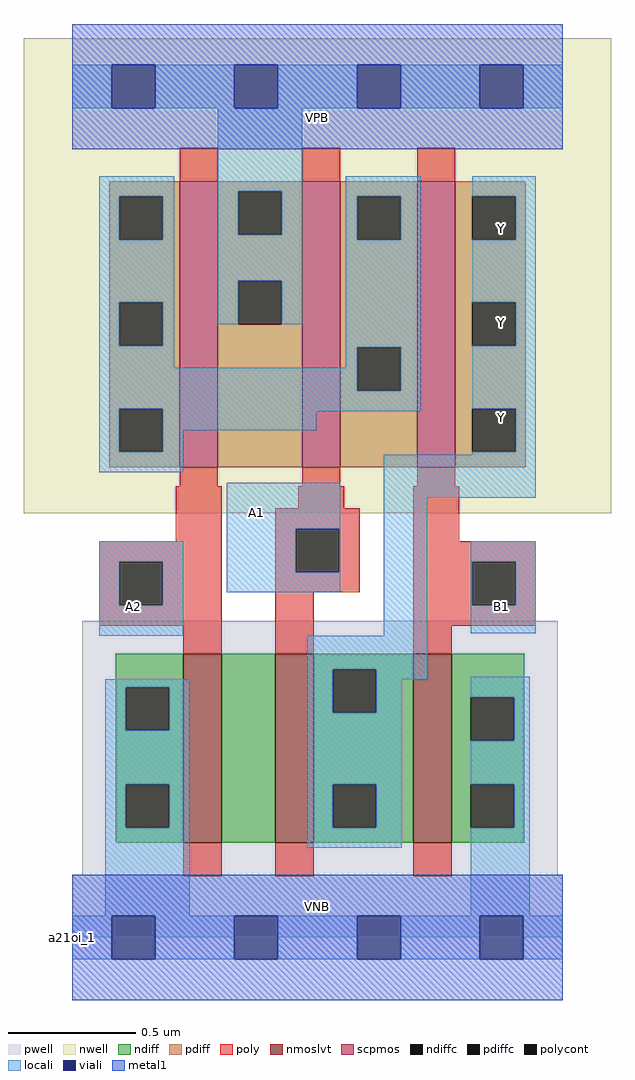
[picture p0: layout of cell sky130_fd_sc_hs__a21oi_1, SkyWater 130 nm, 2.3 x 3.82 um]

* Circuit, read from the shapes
.subckt sky130_fd_sc_hs__a21oi_1 A1 A2 B1 VGND VNB VPB VPWR Y
XM1 n1 A2 VGND VNB sky130_fd_pr__nfet_01v8_lvt w=0.74 l=0.15
XM2 Y A1 n1 VNB sky130_fd_pr__nfet_01v8_lvt w=0.74 l=0.15
XM3 VGND B1 Y VNB sky130_fd_pr__nfet_01v8_lvt w=0.74 l=0.15
XM4 VPWR A2 n2 VPB sky130_fd_pr__pfet_01v8 w=1.12 l=0.15
XM5 n2 A1 VPWR VPB sky130_fd_pr__pfet_01v8 w=1.12 l=0.15
XM6 Y B1 n2 VPB sky130_fd_pr__pfet_01v8 w=1.12 l=0.15
.ends

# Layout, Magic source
magic
tech sky130A
magscale 1 2
<< nwell >>
rect -38 332 422 704
<< pwell >>
rect 8 49 380 248
rect 0 0 384 49
<< scpmos >>
rect 84 368 114 592
rect 180 368 210 592
rect 270 368 300 592
<< nmoslvt >>
rect 87 74 117 222
rect 159 74 189 222
rect 267 74 297 222
<< ndiff >>
rect 34 196 87 222
rect 34 162 42 196
rect 76 162 87 196
rect 34 120 87 162
rect 34 86 42 120
rect 76 86 87 120
rect 34 74 87 86
rect 117 74 159 222
rect 189 210 267 222
rect 189 176 204 210
rect 238 176 267 210
rect 189 120 267 176
rect 189 86 204 120
rect 238 86 267 120
rect 189 74 267 86
rect 297 188 354 222
rect 297 154 312 188
rect 346 154 354 188
rect 297 120 354 154
rect 297 86 312 120
rect 346 86 354 120
rect 297 74 354 86
<< pdiff >>
rect 29 580 84 592
rect 29 546 37 580
rect 71 546 84 580
rect 29 497 84 546
rect 29 463 37 497
rect 71 463 84 497
rect 29 414 84 463
rect 29 380 37 414
rect 71 380 84 414
rect 29 368 84 380
rect 114 584 180 592
rect 114 550 130 584
rect 164 550 180 584
rect 114 514 180 550
rect 114 480 130 514
rect 164 480 180 514
rect 114 368 180 480
rect 210 580 270 592
rect 210 546 223 580
rect 257 546 270 580
rect 210 462 270 546
rect 210 428 223 462
rect 257 428 270 462
rect 210 368 270 428
rect 300 580 355 592
rect 300 546 313 580
rect 347 546 355 580
rect 300 497 355 546
rect 300 463 313 497
rect 347 463 355 497
rect 300 414 355 463
rect 300 380 313 414
rect 347 380 355 414
rect 300 368 355 380
<< ndiffc >>
rect 42 162 76 196
rect 42 86 76 120
rect 204 176 238 210
rect 204 86 238 120
rect 312 154 346 188
rect 312 86 346 120
<< pdiffc >>
rect 37 546 71 580
rect 37 463 71 497
rect 37 380 71 414
rect 130 550 164 584
rect 130 480 164 514
rect 223 546 257 580
rect 223 428 257 462
rect 313 546 347 580
rect 313 463 347 497
rect 313 380 347 414
<< poly >>
rect 84 592 114 618
rect 180 592 210 618
rect 270 592 300 618
rect 84 353 114 368
rect 180 353 210 368
rect 270 353 300 368
rect 81 310 117 353
rect 177 336 213 353
rect 21 294 117 310
rect 21 260 37 294
rect 71 260 117 294
rect 21 244 117 260
rect 87 222 117 244
rect 159 320 225 336
rect 159 286 175 320
rect 209 286 225 320
rect 159 270 225 286
rect 267 310 303 353
rect 267 294 363 310
rect 159 222 189 270
rect 267 260 313 294
rect 347 260 363 294
rect 267 244 363 260
rect 267 222 297 244
rect 87 48 117 74
rect 159 48 189 74
rect 267 48 297 74
<< polycont >>
rect 37 260 71 294
rect 175 286 209 320
rect 313 260 347 294
<< locali >>
rect 0 649 31 683
rect 65 649 127 683
rect 161 649 223 683
rect 257 649 319 683
rect 353 649 384 683
rect 21 580 80 596
rect 21 546 37 580
rect 71 546 80 580
rect 21 497 80 546
rect 21 463 37 497
rect 71 463 80 497
rect 114 584 180 649
rect 114 550 130 584
rect 164 550 180 584
rect 114 514 180 550
rect 114 480 130 514
rect 164 480 180 514
rect 214 580 273 596
rect 214 546 223 580
rect 257 546 273 580
rect 21 446 80 463
rect 214 462 273 546
rect 214 446 223 462
rect 21 428 223 446
rect 257 428 273 462
rect 21 414 273 428
rect 21 380 37 414
rect 71 412 273 414
rect 313 580 363 596
rect 347 546 363 580
rect 313 497 363 546
rect 347 463 363 497
rect 313 414 363 463
rect 71 397 191 412
rect 71 380 87 397
rect 21 364 87 380
rect 347 380 363 414
rect 313 378 363 380
rect 121 320 210 356
rect 21 294 87 310
rect 21 260 37 294
rect 71 260 87 294
rect 121 286 175 320
rect 209 286 210 320
rect 121 270 210 286
rect 244 344 363 378
rect 21 236 87 260
rect 244 236 278 344
rect 312 294 363 310
rect 312 260 313 294
rect 347 260 363 294
rect 312 238 363 260
rect 184 210 278 236
rect 26 196 92 202
rect 26 162 42 196
rect 76 162 92 196
rect 26 120 92 162
rect 26 86 42 120
rect 76 86 92 120
rect 26 17 92 86
rect 184 176 204 210
rect 238 202 278 210
rect 238 176 258 202
rect 184 120 258 176
rect 184 86 204 120
rect 238 86 258 120
rect 184 70 258 86
rect 312 188 358 204
rect 346 154 358 188
rect 312 120 358 154
rect 346 86 358 120
rect 312 17 358 86
rect 0 -17 31 17
rect 65 -17 127 17
rect 161 -17 223 17
rect 257 -17 319 17
rect 353 -17 384 17
<< viali >>
rect 31 649 65 683
rect 127 649 161 683
rect 223 649 257 683
rect 319 649 353 683
rect 31 -17 65 17
rect 127 -17 161 17
rect 223 -17 257 17
rect 319 -17 353 17
<< metal1 >>
rect 0 683 384 715
rect 0 649 31 683
rect 65 649 127 683
rect 161 649 223 683
rect 257 649 319 683
rect 353 649 384 683
rect 0 617 384 649
rect 0 17 384 49
rect 0 -17 31 17
rect 65 -17 127 17
rect 161 -17 223 17
rect 257 -17 319 17
rect 353 -17 384 17
rect 0 -49 384 -17
<< labels >>
rlabel comment s 0 0 0 0 4 a21oi_1
flabel pwell s 0 0 384 49 0 FreeSans 200 0 0 0 VNB
port 5 nsew ground bidirectional
flabel nwell s 0 617 384 666 0 FreeSans 200 0 0 0 VPB
port 6 nsew power bidirectional
flabel metal1 s 0 617 384 666 0 FreeSans 340 0 0 0 VPWR
port 7 nsew power bidirectional
flabel metal1 s 0 0 384 49 0 FreeSans 340 0 0 0 VGND
port 4 nsew ground bidirectional
flabel locali s 319 242 353 276 0 FreeSans 340 0 0 0 B1
port 3 nsew signal input
flabel locali s 319 390 353 424 0 FreeSans 340 0 0 0 Y
port 8 nsew signal output
flabel locali s 319 464 353 498 0 FreeSans 340 0 0 0 Y
port 8 nsew signal output
flabel locali s 319 538 353 572 0 FreeSans 340 0 0 0 Y
port 8 nsew signal output
flabel locali s 31 242 65 276 0 FreeSans 340 0 0 0 A2
port 2 nsew signal input
flabel locali s 127 316 161 350 0 FreeSans 340 0 0 0 A1
port 1 nsew signal input
<< properties >>
string LEFsite unit
string LEFclass CORE
string FIXED_BBOX 0 0 384 666
string GDS_FILE $PDKPATH/libs.ref/sky130_fd_sc_hs/gds/sky130_fd_sc_hs.gds
string LEFsymmetry X Y
string GDS_END 2547200
string GDS_START 2542286
<< end >>
